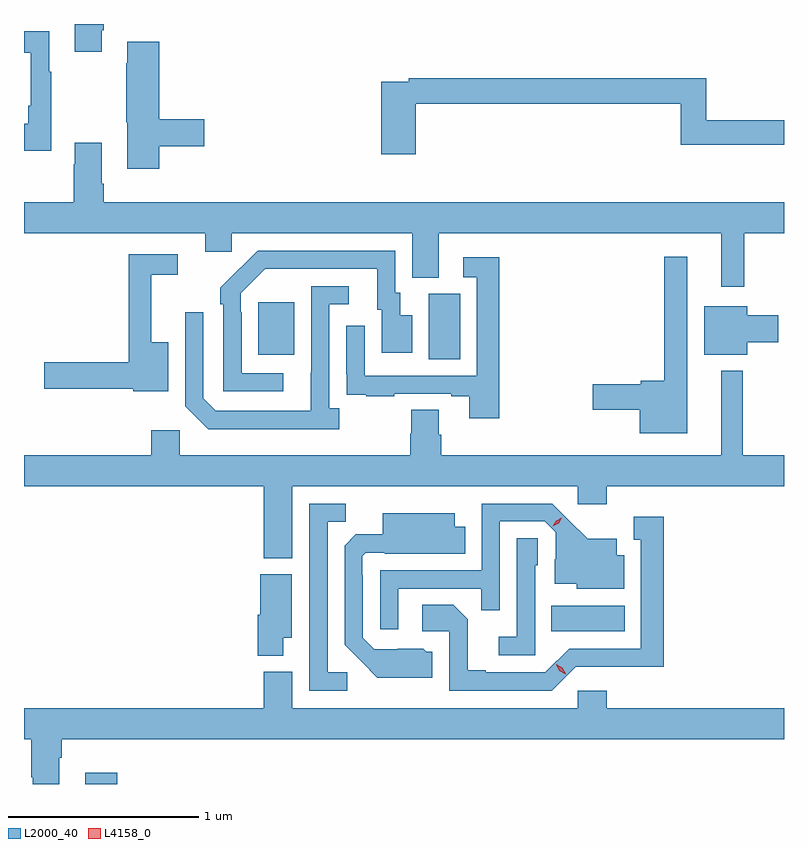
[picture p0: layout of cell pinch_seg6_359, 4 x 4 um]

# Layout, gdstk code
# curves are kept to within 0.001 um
import gdstk
lib = gdstk.Library(unit=1e-6, precision=1e-09)
def R(c, l, rs):  # rectangles x0, y0, x1, y1
    for r in rs: c.add(gdstk.rectangle(r[:2], r[2:], *l))
def P(c, l, *ps):  # polygons
    for p in ps: c.add(gdstk.Polygon(p, *l))
L2000_40 = (2000, 40)
L4158_0 = (4158, 0)

pinch_seg6_359 = lib.new_cell('pinch_seg6_359')
R(pinch_seg6_359, L2000_40, [(636.635,955.093,636.803,955.153), (639.088,955.898,639.475,956.032), (638.444,957.328,638.608,957.672), (637.547,957.353,637.735,957.628)])
P(pinch_seg6_359, L2000_40, [(636.721,959.059),(636.734,959.059),(636.734,959.093),(636.581,959.093),(636.581,958.947),(636.721,958.947)],
  [(636.457,958.843),(636.445,958.843),(636.445,959.056),(636.313,959.056),(636.313,958.943),(636.348,958.943),(636.348,958.663),(636.336,958.663),(636.336,958.567),(636.313,958.567),(636.313,958.427),(636.457,958.427)],
  [(637.025,958.45),(637.261,958.45),(637.261,958.592),(637.025,958.592),(637.025,958.999),(636.857,958.999),(636.857,958.886),(636.85,958.886),(636.85,958.575),(636.857,958.575),(636.857,958.332),(637.025,958.332)],
  [(638.375,958.672),(639.769,958.672),(639.769,958.458),(640.313,958.458),(640.313,958.586),(639.905,958.586),(639.905,958.808),(638.338,958.808),(638.338,958.788),(638.192,958.788),(638.192,958.407),(638.375,958.407)],
  [(636.734,958.252),(636.721,958.252),(636.721,958.468),(636.581,958.468),(636.581,958.355),(636.574,958.355),(636.574,958.156),(636.313,958.156),(636.313,957.992),(637.268,957.992),(637.268,957.894),(637.407,957.894),(637.407,957.992),(638.357,957.992),(638.357,957.757),(638.497,957.757),(638.497,957.992),(639.983,957.992),(639.983,957.711),(640.105,957.711),(640.105,957.992),(640.313,957.992),(640.313,958.156),(636.734,958.156)],
  [(637.678,957.255),(637.458,957.255),(637.458,957.575),(637.455,957.575),(637.455,957.675),(637.584,957.804),(638.171,957.804),(638.171,957.588),(638.195,957.588),(638.195,957.363),(638.356,957.363),(638.356,957.559),(638.293,957.559),(638.293,957.678),(638.268,957.678),(638.268,957.9),(637.544,957.9),(637.347,957.705),(637.347,957.617),(637.362,957.617),(637.362,957.159),(637.678,957.159)],
  [(637.072,957.418),(636.983,957.418),(636.983,957.774),(637.123,957.774),(637.123,957.882),(636.865,957.882),(636.865,957.314),(636.42,957.314),(636.42,957.172),(636.888,957.172),(636.888,957.161),(637.072,957.161)],
  [(639.805,957.868),(639.684,957.868),(639.684,957.215),(639.558,957.215),(639.558,957.197),(639.306,957.197),(639.306,957.062),(639.554,957.062),(639.554,956.939),(639.805,956.939)],
  [(638.813,957.865),(638.625,957.865),(638.625,957.759),(638.697,957.759),(638.697,957.243),(638.106,957.243),(638.106,957.505),(638.01,957.505),(638.01,957.25),(638.011,957.25),(638.011,957.141),(638.113,957.141),(638.113,957.135),(638.261,957.135),(638.261,957.147),(638.561,957.147),(638.561,957.135),(638.657,957.135),(638.657,957.018),(638.813,957.018)],
  [(637.972,957.07),(637.92,957.07),(637.92,957.618),(638.023,957.618),(638.023,957.714),(637.824,957.714),(637.823,957.057),(637.323,957.057),(637.257,957.123),(637.257,957.577),(637.161,957.577),(637.161,957.081),(637.282,956.96),(637.972,956.96)],
  [(640.12,957.419),(640.282,957.419),(640.282,957.561),(640.12,957.561),(640.12,957.607),(639.893,957.607),(639.893,957.353),(640.12,957.353)],
  [(637.726,956.66),(639.228,956.66),(639.228,956.565),(639.38,956.565),(639.38,956.66),(640.313,956.66),(640.313,956.824),(640.097,956.824),(640.097,957.268),(639.983,957.268),(639.983,956.824),(638.51,956.824),(638.51,956.93),(638.497,956.93),(638.497,957.062),(638.35,957.062),(638.35,956.937),(638.345,956.937),(638.345,956.824),(637.134,956.824),(637.134,956.956),(636.983,956.956),(636.983,956.824),(636.313,956.824),(636.313,956.66),(637.574,956.66),(637.574,956.282),(637.726,956.282)],
  [(638.014,955.68),(637.911,955.68),(637.911,956.473),(638.007,956.473),(638.007,956.568),(637.815,956.568),(637.815,955.584),(638.014,955.584)],
  [(638.283,956.121),(638.719,956.121),(638.719,956.008),(638.817,956.008),(638.817,956.475),(639.054,956.475),(639.111,956.418),(639.111,956.276),(639.107,956.276),(639.107,956.147),(639.222,956.147),(639.222,956.12),(639.472,956.12),(639.472,956.296),(639.433,956.296),(639.433,956.383),(639.281,956.383),(639.094,956.568),(638.721,956.568),(638.721,956.217),(638.187,956.217),(638.187,955.908),(638.283,955.908)],
  [(638.461,955.788),(638.43,955.788),(638.414,955.804),(638.157,955.803),(638.097,955.863),(638.097,956.192),(638.094,956.192),(638.094,956.292),(638.112,956.31),(638.212,956.31),(638.212,956.306),(638.636,956.306),(638.636,956.446),(638.581,956.446),(638.581,956.518),(638.201,956.518),(638.201,956.407),(638.06,956.407),(638.001,956.348),(638.001,955.826),(638.173,955.652),(638.461,955.652)],
  [(639.216,955.71),(639.679,955.709),(639.679,956.5),(639.521,956.5),(639.521,956.379),(639.56,956.379),(639.56,955.806),(639.183,955.806),(639.057,955.68),(638.743,955.68),(638.743,955.693),(638.649,955.693),(638.649,955.96),(638.573,956.036),(638.409,956.036),(638.409,955.896),(638.55,955.896),(638.55,955.584),(639.09,955.584)],
  [(639.003,956.244),(639.018,956.244),(639.018,956.387),(638.907,956.387),(638.907,955.867),(638.811,955.867),(638.811,955.77),(639.003,955.77)],
  [(637.678,955.862),(637.723,955.862),(637.723,956.197),(637.556,956.197),(637.556,955.983),(637.544,955.983),(637.544,955.769),(637.678,955.769)],
  [(636.499,955.232),(636.512,955.232),(636.512,955.328),(640.313,955.328),(640.313,955.492),(639.38,955.492),(639.38,955.585),(639.228,955.585),(639.228,955.492),(637.726,955.492),(637.726,955.684),(637.574,955.684),(637.574,955.492),(636.313,955.492),(636.313,955.328),(636.352,955.328),(636.352,955.129),(636.359,955.129),(636.359,955.093),(636.499,955.093)])
P(pinch_seg6_359, L4158_0, [(639.163,955.671),(639.131,955.69),(639.113,955.723),(639.113,955.723),(639.114,955.723),(639.145,955.704),(639.163,955.672),(639.163,955.671)],
  [(639.096,956.449),(639.096,956.45),(639.113,956.479),(639.144,956.494),(639.144,956.494),(639.144,956.494),(639.127,956.465),(639.096,956.449)])

lib.write_gds('pinch_seg6_359.gds')
